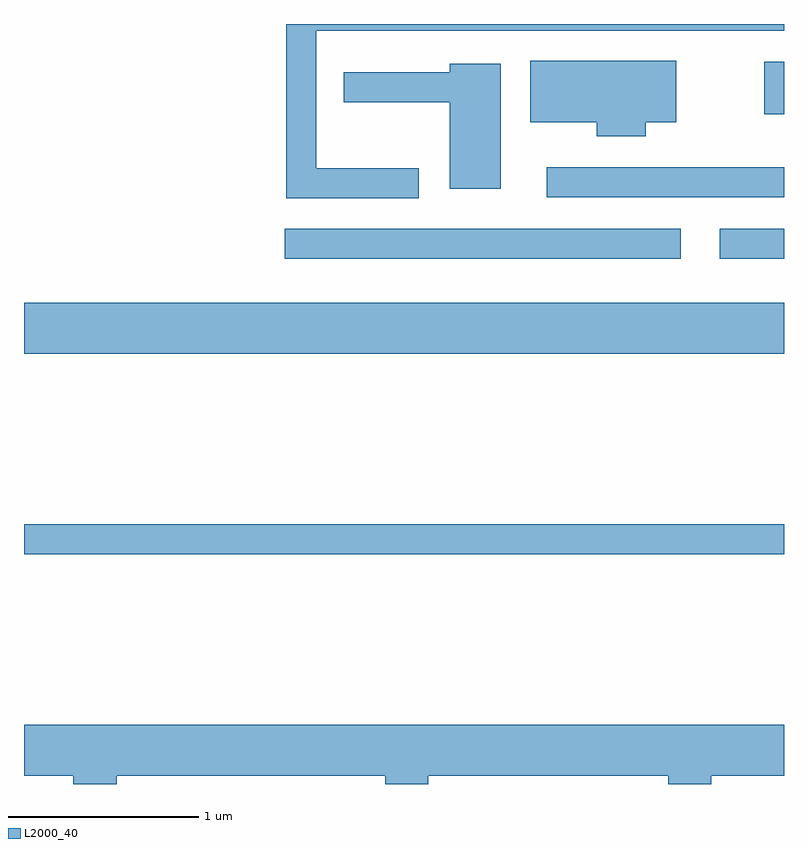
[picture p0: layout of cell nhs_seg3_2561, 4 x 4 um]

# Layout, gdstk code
import gdstk
lib = gdstk.Library(unit=1e-6, precision=1e-09)
def R(c, l, rs):  # rectangles x0, y0, x1, y1
    for r in rs: c.add(gdstk.rectangle(r[:2], r[2:], *l))
def P(c, l, *ps):  # polygons
    for p in ps: c.add(gdstk.Polygon(p, *l))
L2000_40 = (2000, 40)

nhs_seg3_2561 = lib.new_cell('nhs_seg3_2561')
R(nhs_seg3_2561, L2000_40, [(259.611,1207.101,263.611,1207.259), (259.611,1208.156,263.611,1208.424), (260.983,1208.656,263.068,1208.814), (263.273,1208.656,263.611,1208.814), (262.363,1208.981,263.611,1209.139), (263.506,1209.416,263.611,1209.694)])
P(nhs_seg3_2561, L2000_40, [(261.688,1209.134),(261.149,1209.134),(261.149,1209.856),(263.611,1209.856),(263.611,1209.892),(260.991,1209.892),(260.991,1208.976),(261.688,1208.976)],
  [(262.884,1209.376),(263.044,1209.376),(263.044,1209.699),(262.276,1209.699),(262.276,1209.376),(262.626,1209.376),(262.626,1209.301),(262.884,1209.301)],
  [(262.119,1209.684),(261.851,1209.684),(261.851,1209.639),(261.293,1209.639),(261.293,1209.481),(261.851,1209.481),(261.851,1209.026),(262.119,1209.026)],
  [(260.099,1205.936),(261.511,1205.936),(261.511,1205.892),(261.739,1205.892),(261.739,1205.936),(263.001,1205.936),(263.001,1205.892),(263.229,1205.892),(263.229,1205.936),(263.611,1205.936),(263.611,1206.204),(259.611,1206.204),(259.611,1205.936),(259.871,1205.936),(259.871,1205.892),(260.099,1205.892)])

lib.write_gds('nhs_seg3_2561.gds')
